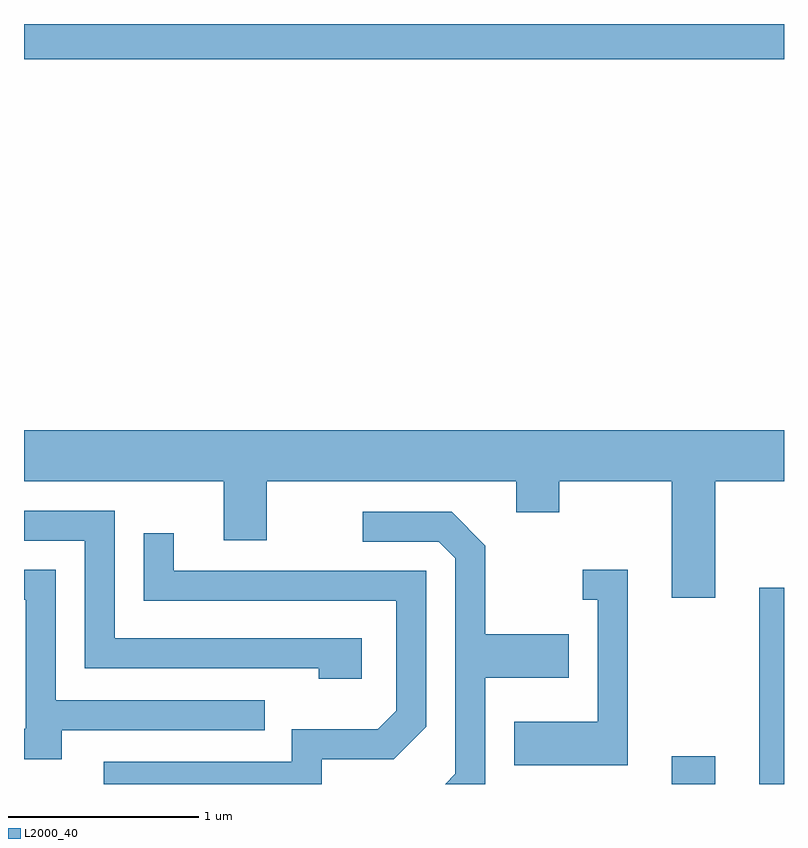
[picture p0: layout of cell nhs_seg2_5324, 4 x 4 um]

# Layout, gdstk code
import gdstk
lib = gdstk.Library(unit=1e-6, precision=1e-09)
def R(c, l, rs):  # rectangles x0, y0, x1, y1
    for r in rs: c.add(gdstk.rectangle(r[:2], r[2:], *l))
def P(c, l, *ps):  # polygons
    for p in ps: c.add(gdstk.Polygon(p, *l))
L2000_40 = (2000, 40)

nhs_seg2_5324 = lib.new_cell('nhs_seg2_5324')
R(nhs_seg2_5324, L2000_40, [(345.021,1077.802,345.249,1077.949), (345.481,1077.802,345.611,1078.834), (341.611,1081.616,345.611,1081.802)])
P(nhs_seg2_5324, L2000_40, [(341.611,1079.396),(342.661,1079.396),(342.661,1079.086),(342.889,1079.086),(342.889,1079.396),(344.201,1079.396),(344.201,1079.231),(344.429,1079.231),(344.429,1079.396),(345.021,1079.396),(345.021,1078.781),(345.249,1078.781),(345.249,1079.396),(345.611,1079.396),(345.611,1079.664),(341.611,1079.664)],
  [(343.389,1078.569),(342.089,1078.569),(342.089,1079.239),(341.611,1079.239),(341.611,1079.081),(341.931,1079.081),(341.931,1078.411),(343.161,1078.411),(343.161,1078.356),(343.389,1078.356)],
  [(344.039,1078.361),(344.479,1078.361),(344.479,1078.589),(344.039,1078.589),(344.039,1079.057),(343.862,1079.234),(343.393,1079.234),(343.393,1079.076),(343.794,1079.076),(343.881,1078.989),(343.881,1077.857),(343.827,1077.802),(344.039,1077.802)],
  [(343.179,1077.931),(343.557,1077.931),(343.729,1078.104),(343.729,1078.924),(342.399,1078.924),(342.399,1079.123),(342.241,1079.123),(342.241,1078.766),(343.571,1078.766),(343.571,1078.187),(343.474,1078.089),(343.021,1078.089),(343.021,1077.919),(342.031,1077.919),(342.031,1077.802),(343.179,1077.802)],
  [(344.789,1078.929),(344.553,1078.929),(344.553,1078.771),(344.631,1078.771),(344.631,1078.129),(344.191,1078.129),(344.191,1077.901),(344.789,1077.901)],
  [(341.809,1078.086),(342.878,1078.086),(342.878,1078.244),(341.779,1078.244),(341.779,1078.929),(341.611,1078.929),(341.611,1078.771),(341.621,1078.771),(341.621,1078.094),(341.611,1078.094),(341.611,1077.931),(341.809,1077.931)])

lib.write_gds('nhs_seg2_5324.gds')
